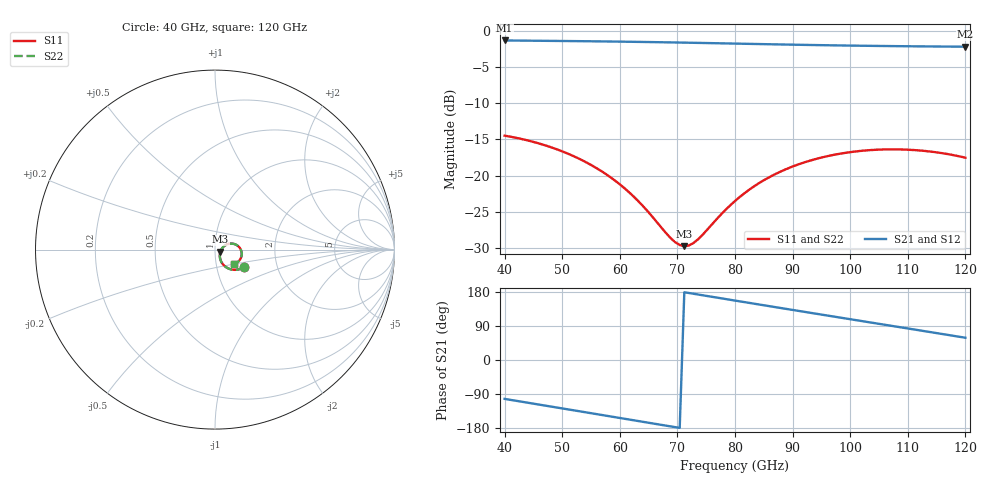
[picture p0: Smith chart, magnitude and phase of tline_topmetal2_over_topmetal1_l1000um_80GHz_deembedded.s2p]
! Created with skrf 2.2.0 (http://scikit-rf.org).
# GHz S DB R 50.0
! Port[1] = P1
! Port[2] = P2
!freq dBS11 angS11 dBS21 angS21 dBS12 angS12 dBS22 angS22
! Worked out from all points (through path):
!   101 points, 40 GHz to 120 GHz, reference 50 ohm
!   highest |S21| = -1.29 dB at 40 GHz (marker M1); lowest = -2.2 dB at 120 GHz (marker M2)
!   group delay of S21, straight-line fit = 6.9 ps
!   lowest |S11| = -29.8 dB at 71.2 GHz (marker M3), VSWR 1.07, Z = 53.1 - j1.17 ohm
!   |S11| at or under -10 dB: start of sweep to end of sweep
!   |S22| runs from -29.8 to -14.5 dB; largest |S21 - S12| = 9.9e-14
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40  -14.48 -30.7  -1.29 -102.7  -1.29 -102.7  -14.48 -30.7
46.4  -15.66 -42.9  -1.34 -118.7  -1.34 -118.7  -15.66 -43.0
49.6  -16.53 -48.6  -1.36 -126.7  -1.36 -126.7  -16.53 -48.8
53.6  -17.93 -55.1  -1.40 -136.8  -1.40 -136.8  -17.94 -55.3
57.6  -19.80 -60.3  -1.43 -146.9  -1.43 -146.9  -19.81 -60.5
60.8  -21.75 -62.5  -1.47 -155.0  -1.47 -155.0  -21.75 -62.7
64  -24.21 -61.1  -1.50 -163.1  -1.50 -163.1  -24.22 -61.4
67.2  -27.18 -52.1  -1.54 -171.1  -1.54 -171.1  -27.21 -52.4
69.6  -29.22 -35.6  -1.57 -177.2  -1.57 -177.2  -29.27 -35.9
71.2  -29.78 -19.9  -1.60 178.8  -1.60 178.8  -29.84 -20.0
72  -29.68 -11.7  -1.61 176.8  -1.61 176.8  -29.74 -11.8
73.6  -28.82 2.5  -1.63 172.8  -1.63 172.8  -28.87 2.6
80  -23.52 23.1  -1.73 156.8  -1.73 156.8  -23.54 23.2
83.2  -21.55 22.6  -1.78 148.9  -1.78 148.9  -21.56 22.6
86.4  -20.04 19.7  -1.83 141.0  -1.83 141.0  -20.05 19.7
89.6  -18.88 15.5  -1.87 133.1  -1.87 133.1  -18.88 15.5
93.6  -17.80 9.3  -1.93 123.3  -1.93 123.3  -17.81 9.2
97.6  -17.06 2.6  -1.98 113.5  -1.98 113.5  -17.07 2.5
100.8  -16.68 -3.1  -2.01 105.7  -2.01 105.7  -16.68 -3.2
107.2  -16.37 -14.6  -2.07 90.1  -2.07 90.1  -16.38 -14.7
113.6  -16.65 -26.0  -2.12 74.4  -2.12 74.4  -16.65 -26.2
120  -17.53 -36.8  -2.16 58.7  -2.16 58.7  -17.54 -37.1
